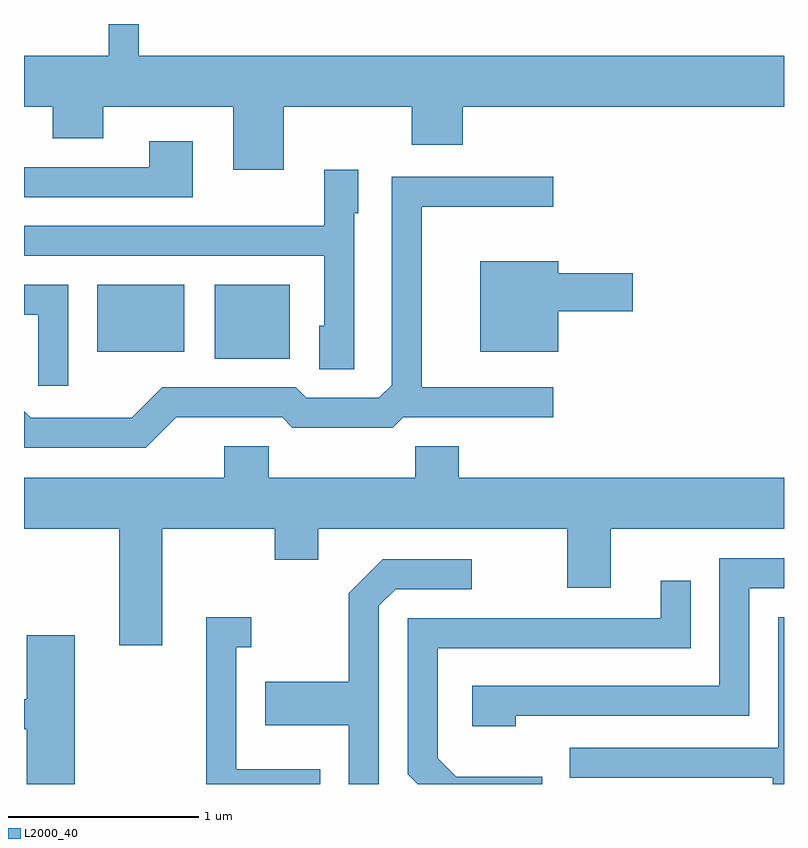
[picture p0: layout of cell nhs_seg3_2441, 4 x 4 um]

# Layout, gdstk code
import gdstk
lib = gdstk.Library(unit=1e-6, precision=1e-09)
def R(c, l, rs):  # rectangles x0, y0, x1, y1
    for r in rs: c.add(gdstk.rectangle(r[:2], r[2:], *l))
def P(c, l, *ps):  # polygons
    for p in ps: c.add(gdstk.Polygon(p, *l))
L2000_40 = (2000, 40)

nhs_seg3_2441 = lib.new_cell('nhs_seg3_2441')
R(nhs_seg3_2441, L2000_40, [(256.616,1240.131,257.009,1240.519), (255.996,1240.166,256.454,1240.519)])
P(nhs_seg3_2441, L2000_40, [(256.979,1241.456),(257.651,1241.456),(257.651,1241.256),(257.919,1241.256),(257.919,1241.456),(259.611,1241.456),(259.611,1241.724),(256.214,1241.724),(256.214,1241.892),(256.056,1241.892),(256.056,1241.724),(255.611,1241.724),(255.611,1241.456),(255.761,1241.456),(255.761,1241.291),(256.029,1241.291),(256.029,1241.456),(256.711,1241.456),(256.711,1241.126),(256.979,1241.126)],
  [(256.499,1241.274),(256.271,1241.274),(256.271,1241.139),(255.611,1241.139),(255.611,1240.981),(256.499,1240.981)],
  [(257.349,1240.896),(257.369,1240.896),(257.369,1241.124),(257.191,1241.124),(257.191,1240.829),(255.611,1240.829),(255.611,1240.671),(257.191,1240.671),(257.191,1240.304),(257.166,1240.304),(257.166,1240.076),(257.349,1240.076)],
  [(256.412,1239.821),(256.969,1239.821),(257.024,1239.766),(257.552,1239.766),(257.606,1239.821),(258.397,1239.821),(258.397,1239.979),(257.704,1239.979),(257.704,1240.931),(258.397,1240.931),(258.397,1241.089),(257.546,1241.089),(257.546,1239.992),(257.479,1239.924),(257.097,1239.924),(257.041,1239.979),(256.339,1239.979),(256.179,1239.819),(255.647,1239.819),(255.611,1239.855),(255.611,1239.661),(256.252,1239.661)],
  [(258.424,1240.381),(258.814,1240.381),(258.814,1240.579),(258.424,1240.579),(258.424,1240.644),(258.011,1240.644),(258.011,1240.166),(258.424,1240.166)],
  [(255.844,1240.519),(255.611,1240.519),(255.611,1240.361),(255.686,1240.361),(255.686,1239.988),(255.844,1239.988)],
  [(256.339,1239.236),(256.931,1239.236),(256.931,1239.071),(257.159,1239.071),(257.159,1239.236),(258.471,1239.236),(258.471,1238.926),(258.699,1238.926),(258.699,1239.236),(259.611,1239.236),(259.611,1239.504),(257.899,1239.504),(257.899,1239.669),(257.671,1239.669),(257.671,1239.504),(256.899,1239.504),(256.899,1239.669),(256.666,1239.669),(256.666,1239.504),(255.611,1239.504),(255.611,1239.236),(256.111,1239.236),(256.111,1238.621),(256.339,1238.621)],
  [(258.199,1238.251),(259.429,1238.251),(259.429,1238.921),(259.611,1238.921),(259.611,1239.079),(259.271,1239.079),(259.271,1238.409),(257.971,1238.409),(257.971,1238.196),(258.199,1238.196)],
  [(257.479,1238.829),(257.567,1238.916),(257.968,1238.916),(257.968,1239.074),(257.498,1239.074),(257.321,1238.897),(257.321,1238.429),(256.881,1238.429),(256.881,1238.201),(257.321,1238.201),(257.321,1237.892),(257.479,1237.892)],
  [(258.339,1237.929),(257.887,1237.929),(257.789,1238.027),(257.789,1238.606),(259.119,1238.606),(259.119,1238.963),(258.961,1238.963),(258.961,1238.764),(257.631,1238.764),(257.631,1237.944),(257.683,1237.892),(258.339,1237.892)],
  [(257.169,1237.969),(256.729,1237.969),(256.729,1238.611),(256.808,1238.611),(256.808,1238.769),(256.571,1238.769),(256.571,1237.892),(257.169,1237.892)],
  [(259.611,1238.769),(259.581,1238.769),(259.581,1238.084),(258.483,1238.084),(258.483,1237.926),(259.551,1237.926),(259.551,1237.892),(259.611,1237.892)],
  [(255.879,1238.674),(255.626,1238.674),(255.626,1238.339),(255.611,1238.339),(255.611,1238.181),(255.626,1238.181),(255.626,1237.892),(255.879,1237.892)])

lib.write_gds('nhs_seg3_2441.gds')
